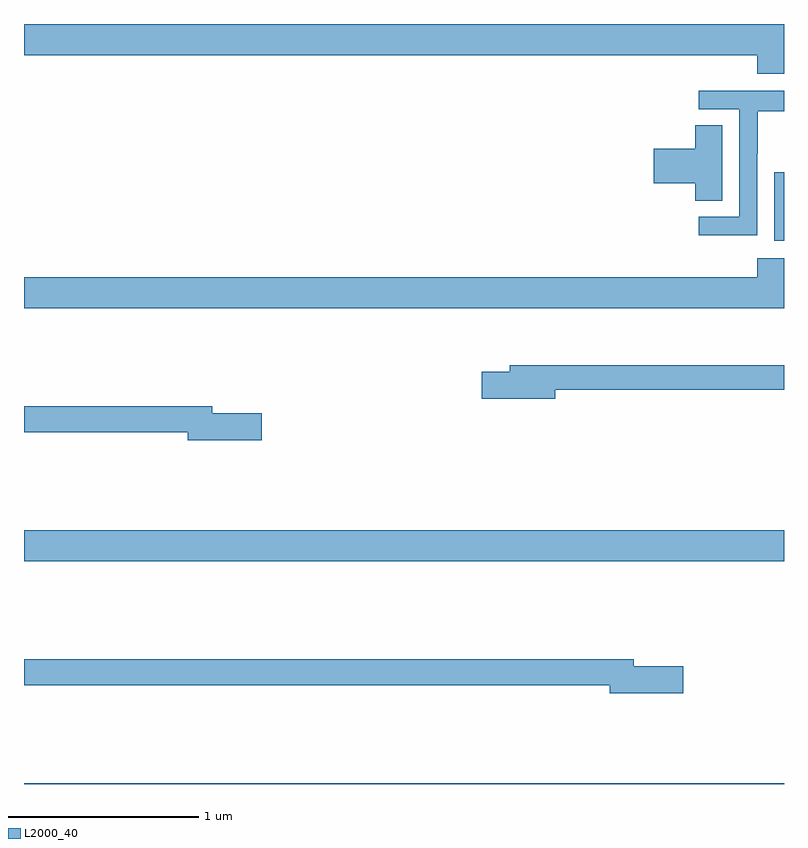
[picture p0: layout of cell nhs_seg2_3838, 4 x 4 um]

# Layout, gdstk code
import gdstk
lib = gdstk.Library(unit=1e-6, precision=1e-09)
def R(c, l, rs):  # rectangles x0, y0, x1, y1
    for r in rs: c.add(gdstk.rectangle(r[:2], r[2:], *l))
def P(c, l, *ps):  # polygons
    for p in ps: c.add(gdstk.Polygon(p, *l))
L2000_40 = (2000, 40)

nhs_seg2_3838 = lib.new_cell('nhs_seg2_3838')
R(nhs_seg2_3838, L2000_40, [(313,643.8,317,643.804), (313,644.972,317,645.136), (316.949,646.658,317,647.019)])
P(nhs_seg2_3838, L2000_40, [(317,647.8),(313,647.8),(313,647.636),(316.859,647.636),(316.859,647.537),(317,647.537)],
  [(316.86,647.116),(316.863,647.116),(316.863,647.34),(317,647.34),(317,647.448),(316.551,647.448),(316.551,647.352),(316.764,647.352),(316.764,646.785),(316.551,646.785),(316.551,646.687),(316.86,646.687)],
  [(316.675,647.267),(316.532,647.267),(316.532,647.144),(316.314,647.144),(316.314,646.961),(316.532,646.961),(316.532,646.87),(316.675,646.87)],
  [(317,646.567),(316.859,646.567),(316.859,646.468),(313,646.468),(313,646.304),(317,646.304)],
  [(315.796,645.874),(317,645.874),(317,646.003),(315.557,646.003),(315.557,645.969),(315.408,645.969),(315.408,645.827),(315.796,645.827)],
  [(314.251,645.752),(313.99,645.752),(313.99,645.788),(313,645.788),(313,645.652),(313.862,645.652),(313.862,645.61),(314.251,645.61)],
  [(316.471,644.42),(316.21,644.42),(316.21,644.456),(313,644.456),(313,644.32),(316.082,644.32),(316.082,644.278),(316.471,644.278)])

lib.write_gds('nhs_seg2_3838.gds')
